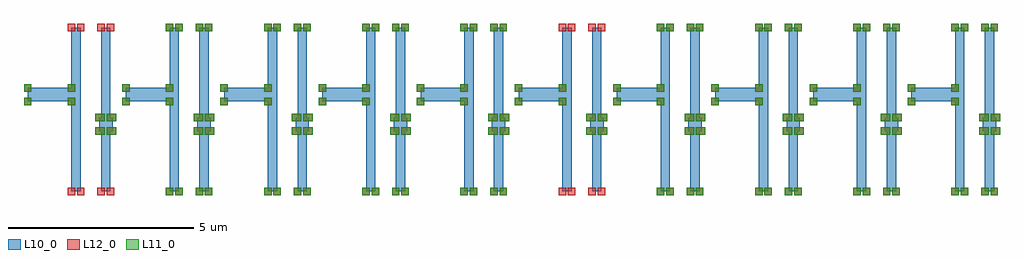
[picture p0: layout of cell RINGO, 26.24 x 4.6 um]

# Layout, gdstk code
import gdstk
lib = gdstk.Library(unit=1e-6, precision=1e-09)
def R(c, l, rs):  # rectangles x0, y0, x1, y1
    for r in rs: c.add(gdstk.rectangle(r[:2], r[2:], *l))
L10_0 = (10, 0)
L11_0 = (11, 0)
L12_0 = (12, 0)

trans = lib.new_cell('TRANS')
R(trans, L10_0, [(-0.125,-0.8,0.125,0.8)])

inv2 = lib.new_cell('INV2')
R(inv2, L10_0, [(-0.525,-0.25,-0.275,2.25), (0.275,-0.25,0.525,2.25), (0.22,0.82,0.58,1.18), (-1.7,1.62,-0.4,1.98)])
R(inv2, L12_0, [(-0.625,-0.9,-0.425,-0.7), (-0.375,-0.9,-0.175,-0.7), (0.175,-0.9,0.375,-0.7), (0.425,-0.9,0.625,-0.7), (0.12,0.72,0.32,0.92), (0.175,0.72,0.375,0.92), (0.425,0.72,0.625,0.92), (0.48,0.72,0.68,0.92), (0.12,1.08,0.32,1.28), (0.175,1.08,0.375,1.28), (0.425,1.08,0.625,1.28), (0.48,1.08,0.68,1.28), (-1.8,1.52,-1.6,1.72), (-0.625,1.52,-0.425,1.72), (-1.8,1.88,-1.6,2.08), (-0.625,1.88,-0.425,2.08), (-0.625,3.5,-0.425,3.7), (-0.375,3.5,-0.175,3.7), (0.175,3.5,0.375,3.7), (0.425,3.5,0.625,3.7)])
inv2.add(gdstk.Reference(trans, (-0.4,0)))
inv2.add(gdstk.Reference(trans, (-0.4,2.8)))
inv2.add(gdstk.Reference(trans, (0.4,0), x_reflection=True))
inv2.add(gdstk.Reference(trans, (0.4,2.8), x_reflection=True))

ringo = lib.new_cell('RINGO')
R(ringo, L11_0, [(2.015,-0.9,2.215,-0.7), (2.265,-0.9,2.465,-0.7), (2.815,-0.9,3.015,-0.7), (3.065,-0.9,3.265,-0.7), (4.655,-0.9,4.855,-0.7), (4.905,-0.9,5.105,-0.7), (5.455,-0.9,5.655,-0.7), (5.705,-0.9,5.905,-0.7), (7.295,-0.9,7.495,-0.7), (7.545,-0.9,7.745,-0.7), (8.095,-0.9,8.295,-0.7), (8.345,-0.9,8.545,-0.7), (9.935,-0.9,10.135,-0.7), (10.185,-0.9,10.385,-0.7), (10.735,-0.9,10.935,-0.7), (10.985,-0.9,11.185,-0.7), (15.215,-0.9,15.415,-0.7), (15.465,-0.9,15.665,-0.7), (16.015,-0.9,16.215,-0.7), (16.265,-0.9,16.465,-0.7), (17.855,-0.9,18.055,-0.7), (18.105,-0.9,18.305,-0.7), (18.655,-0.9,18.855,-0.7), (18.905,-0.9,19.105,-0.7), (20.495,-0.9,20.695,-0.7), (20.745,-0.9,20.945,-0.7), (21.295,-0.9,21.495,-0.7), (21.545,-0.9,21.745,-0.7), (23.135,-0.9,23.335,-0.7), (23.385,-0.9,23.585,-0.7), (23.935,-0.9,24.135,-0.7), (24.185,-0.9,24.385,-0.7), (0.12,0.72,0.32,0.92), (0.175,0.72,0.375,0.92), (0.425,0.72,0.625,0.92), (0.48,0.72,0.68,0.92), (2.76,0.72,2.96,0.92), (2.815,0.72,3.015,0.92), (3.065,0.72,3.265,0.92), (3.12,0.72,3.32,0.92), (5.4,0.72,5.6,0.92), (5.455,0.72,5.655,0.92), (5.705,0.72,5.905,0.92), (5.76,0.72,5.96,0.92), (8.04,0.72,8.24,0.92), (8.095,0.72,8.295,0.92), (8.345,0.72,8.545,0.92), (8.4,0.72,8.6,0.92), (10.68,0.72,10.88,0.92), (10.735,0.72,10.935,0.92), (10.985,0.72,11.185,0.92), (11.04,0.72,11.24,0.92), (13.32,0.72,13.52,0.92), (13.375,0.72,13.575,0.92), (13.625,0.72,13.825,0.92), (13.68,0.72,13.88,0.92), (15.96,0.72,16.16,0.92), (16.015,0.72,16.215,0.92), (16.265,0.72,16.465,0.92), (16.32,0.72,16.52,0.92), (18.6,0.72,18.8,0.92), (18.655,0.72,18.855,0.92), (18.905,0.72,19.105,0.92), (18.96,0.72,19.16,0.92), (21.24,0.72,21.44,0.92), (21.295,0.72,21.495,0.92), (21.545,0.72,21.745,0.92), (21.6,0.72,21.8,0.92), (23.88,0.72,24.08,0.92), (23.935,0.72,24.135,0.92), (24.185,0.72,24.385,0.92), (24.24,0.72,24.44,0.92), (0.12,1.08,0.32,1.28), (0.175,1.08,0.375,1.28), (0.425,1.08,0.625,1.28), (0.48,1.08,0.68,1.28), (2.76,1.08,2.96,1.28), (2.815,1.08,3.015,1.28), (3.065,1.08,3.265,1.28), (3.12,1.08,3.32,1.28), (5.4,1.08,5.6,1.28), (5.455,1.08,5.655,1.28), (5.705,1.08,5.905,1.28), (5.76,1.08,5.96,1.28), (8.04,1.08,8.24,1.28), (8.095,1.08,8.295,1.28), (8.345,1.08,8.545,1.28), (8.4,1.08,8.6,1.28), (10.68,1.08,10.88,1.28), (10.735,1.08,10.935,1.28), (10.985,1.08,11.185,1.28), (11.04,1.08,11.24,1.28), (13.32,1.08,13.52,1.28), (13.375,1.08,13.575,1.28), (13.625,1.08,13.825,1.28), (13.68,1.08,13.88,1.28), (15.96,1.08,16.16,1.28), (16.015,1.08,16.215,1.28), (16.265,1.08,16.465,1.28), (16.32,1.08,16.52,1.28), (18.6,1.08,18.8,1.28), (18.655,1.08,18.855,1.28), (18.905,1.08,19.105,1.28), (18.96,1.08,19.16,1.28), (21.24,1.08,21.44,1.28), (21.295,1.08,21.495,1.28), (21.545,1.08,21.745,1.28), (21.6,1.08,21.8,1.28), (23.88,1.08,24.08,1.28), (23.935,1.08,24.135,1.28), (24.185,1.08,24.385,1.28), (24.24,1.08,24.44,1.28), (-1.8,1.52,-1.6,1.72), (-0.625,1.52,-0.425,1.72), (0.84,1.52,1.04,1.72), (2.015,1.52,2.215,1.72), (3.48,1.52,3.68,1.72), (4.655,1.52,4.855,1.72), (6.12,1.52,6.32,1.72), (7.295,1.52,7.495,1.72), (8.76,1.52,8.96,1.72), (9.935,1.52,10.135,1.72), (11.4,1.52,11.6,1.72), (12.575,1.52,12.775,1.72), (14.04,1.52,14.24,1.72), (15.215,1.52,15.415,1.72), (16.68,1.52,16.88,1.72), (17.855,1.52,18.055,1.72), (19.32,1.52,19.52,1.72), (20.495,1.52,20.695,1.72), (21.96,1.52,22.16,1.72), (23.135,1.52,23.335,1.72), (-1.8,1.88,-1.6,2.08), (-0.625,1.88,-0.425,2.08), (0.84,1.88,1.04,2.08), (2.015,1.88,2.215,2.08), (3.48,1.88,3.68,2.08), (4.655,1.88,4.855,2.08), (6.12,1.88,6.32,2.08), (7.295,1.88,7.495,2.08), (8.76,1.88,8.96,2.08), (9.935,1.88,10.135,2.08), (11.4,1.88,11.6,2.08), (12.575,1.88,12.775,2.08), (14.04,1.88,14.24,2.08), (15.215,1.88,15.415,2.08), (16.68,1.88,16.88,2.08), (17.855,1.88,18.055,2.08), (19.32,1.88,19.52,2.08), (20.495,1.88,20.695,2.08), (21.96,1.88,22.16,2.08), (23.135,1.88,23.335,2.08), (2.015,3.5,2.215,3.7), (2.265,3.5,2.465,3.7), (2.815,3.5,3.015,3.7), (3.065,3.5,3.265,3.7), (4.655,3.5,4.855,3.7), (4.905,3.5,5.105,3.7), (5.455,3.5,5.655,3.7), (5.705,3.5,5.905,3.7), (7.295,3.5,7.495,3.7), (7.545,3.5,7.745,3.7), (8.095,3.5,8.295,3.7), (8.345,3.5,8.545,3.7), (9.935,3.5,10.135,3.7), (10.185,3.5,10.385,3.7), (10.735,3.5,10.935,3.7), (10.985,3.5,11.185,3.7), (15.215,3.5,15.415,3.7), (15.465,3.5,15.665,3.7), (16.015,3.5,16.215,3.7), (16.265,3.5,16.465,3.7), (17.855,3.5,18.055,3.7), (18.105,3.5,18.305,3.7), (18.655,3.5,18.855,3.7), (18.905,3.5,19.105,3.7), (20.495,3.5,20.695,3.7), (20.745,3.5,20.945,3.7), (21.295,3.5,21.495,3.7), (21.545,3.5,21.745,3.7), (23.135,3.5,23.335,3.7), (23.385,3.5,23.585,3.7), (23.935,3.5,24.135,3.7), (24.185,3.5,24.385,3.7)])
ringo.add(gdstk.Reference(inv2, (0,0)))
ringo.add(gdstk.Reference(inv2, (2.64,0)))
ringo.add(gdstk.Reference(inv2, (5.28,0)))
ringo.add(gdstk.Reference(inv2, (7.92,0)))
ringo.add(gdstk.Reference(inv2, (10.56,0)))
ringo.add(gdstk.Reference(inv2, (13.2,0)))
ringo.add(gdstk.Reference(inv2, (15.84,0)))
ringo.add(gdstk.Reference(inv2, (18.48,0)))
ringo.add(gdstk.Reference(inv2, (21.12,0)))
ringo.add(gdstk.Reference(inv2, (23.76,0)))

lib.write_gds('RINGO.gds')
